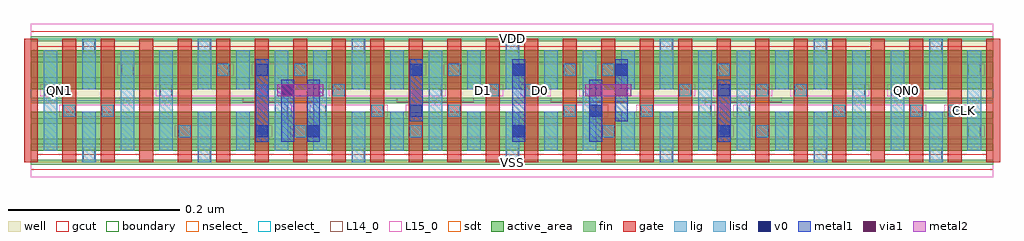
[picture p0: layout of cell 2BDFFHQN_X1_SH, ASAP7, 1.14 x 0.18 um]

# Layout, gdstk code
import gdstk
lib = gdstk.Library(unit=1e-6, precision=1e-09)
def R(c, l, rs):  # rectangles x0, y0, x1, y1
    for r in rs: c.add(gdstk.rectangle(r[:2], r[2:], *l))
def A(c, l, x, y, w, h, nx, ny, dx, dy):  # array of equal rectangles
    R(c, l, [(x+i*dx, y+j*dy, x+i*dx+w, y+j*dy+h) for i in range(nx) for j in range(ny)])
def P(c, l, *ps):  # polygons
    for p in ps: c.add(gdstk.Polygon(p, *l))
well = (1, 0)
fin = (2, 0)
gate = (7, 0)
gcut = (10, 0)
active_area = (11, 0)
nselect_ = (12, 0)
pselect_ = (13, 0)
L14_0 = (14, 0)
L15_0 = (15, 0)
lig = (16, 0)
lisd = (17, 0)
v0 = (18, 0)
metal1 = (19, 0)
metal2 = (20, 0)
via1 = (21, 0)
sdt = (88, 0)
boundary = (100, 0)

c_2bdffhqn_x1_sh = lib.new_cell('2BDFFHQN_X1_SH')
R(c_2bdffhqn_x1_sh, well, [(0,0.072,1.125,0.144)])
A(c_2bdffhqn_x1_sh, fin, 0, -0.003, 1.125, 0.006, 1, 7, 0, 0.024)
A(c_2bdffhqn_x1_sh, gate, -0.008, 0, 0.016, 0.144, 26, 1, 0.045, 0)
A(c_2bdffhqn_x1_sh, gcut, 0.248, 0.07, 0.09, 0.005, 4, 1, 0.18, 0)
P(c_2bdffhqn_x1_sh, gcut, [(0,-0.009),(0,0),(-0.008,0),(-0.008,0.135),(0.008,0.135),(0.008,0.009),(0.127,0.009),(0.127,0.135),(0.143,0.135),(0.143,0.009),(0.982,0.009),(0.982,0.135),(0.998,0.135),(0.998,0.009),(1.117,0.009),(1.117,0.135),(-0.008,0.135),(-0.008,0.144),(0,0.144),(0,0.153),(1.125,0.153),(1.125,0.144),(1.133,0.144),(1.133,0),(1.125,0),(1.125,-0.009)])
R(c_2bdffhqn_x1_sh, active_area, [(0,0.013,1.125,0.059), (0,0.085,1.125,0.131)])
R(c_2bdffhqn_x1_sh, nselect_, [(0,0,1.125,0.072)])
R(c_2bdffhqn_x1_sh, pselect_, [(0,0.072,1.125,0.144)])
A(c_2bdffhqn_x1_sh, L14_0, 0.196, 0, 0.014, 0.018, 5, 2, 0.18, 0.126)
R(c_2bdffhqn_x1_sh, L14_0, [(0.061,0,0.075,0.018), (1.051,0,1.065,0.018), (0.173,0.029,0.187,0.043), (0.263,0.029,0.277,0.043), (0.308,0.029,0.322,0.043), (0.443,0.029,0.457,0.043), (0.668,0.029,0.682,0.043), (0.803,0.029,0.817,0.043), (0.848,0.029,0.862,0.043), (1.096,0.029,1.11,0.043), (0.038,0.053,0.052,0.067), (0.083,0.053,0.097,0.067), (0.286,0.053,0.3,0.067), (0.331,0.053,0.345,0.067), (0.398,0.053,0.412,0.067), (0.488,0.053,0.502,0.067), (0.623,0.053,0.637,0.067), (0.713,0.053,0.727,0.067), (0.781,0.053,0.795,0.067), (0.826,0.053,0.84,0.067), (0.938,0.053,0.952,0.067), (1.028,0.053,1.042,0.067), (1.073,0.053,1.087,0.067), (0.016,0.077,0.03,0.091), (0.151,0.077,0.165,0.091), (0.263,0.077,0.277,0.091), (0.353,0.077,0.367,0.091), (0.466,0.077,0.48,0.091), (0.533,0.077,0.547,0.091), (0.578,0.077,0.592,0.091), (0.646,0.077,0.66,0.091), (0.758,0.077,0.772,0.091), (0.848,0.077,0.862,0.091), (0.893,0.077,0.907,0.091), (0.961,0.077,0.975,0.091), (1.006,0.077,1.02,0.091), (0.106,0.101,0.12,0.115), (0.218,0.101,0.232,0.115), (0.308,0.101,0.322,0.115), (0.443,0.101,0.457,0.115), (0.488,0.101,0.502,0.115), (0.623,0.101,0.637,0.115), (0.668,0.101,0.682,0.115), (0.803,0.101,0.817,0.115), (1.096,0.101,1.11,0.115), (0.061,0.126,0.075,0.144), (1.051,0.126,1.065,0.144)])
R(c_2bdffhqn_x1_sh, L15_0, [(0,-0.018,1.125,0.018), (0.168,0.029,0.282,0.043), (0.303,0.029,0.822,0.043), (0.843,0.029,1.115,0.043), (0.033,0.053,0.305,0.067), (0.326,0.053,0.417,0.067), (0.438,0.053,0.675,0.067), (0.708,0.053,0.8,0.067), (0.821,0.053,1.047,0.067), (1.068,0.053,1.103,0.067), (0.011,0.077,0.045,0.091), (0.146,0.077,0.315,0.091), (0.348,0.077,0.485,0.091), (0.518,0.077,0.552,0.091), (0.573,0.077,0.608,0.091), (0.641,0.077,0.777,0.091), (0.798,0.077,0.867,0.091), (0.888,0.077,0.98,0.091), (1.001,0.077,1.035,0.091), (0.101,0.101,0.237,0.115), (0.258,0.101,0.462,0.115), (0.483,0.101,0.642,0.115), (0.663,0.101,1.115,0.115), (0,0.126,1.125,0.162)])
R(c_2bdffhqn_x1_sh, lig, [(0.173,0.029,0.187,0.043), (0.263,0.029,0.277,0.043), (0.308,0.029,0.322,0.043), (0.443,0.029,0.457,0.043), (0.668,0.029,0.682,0.043), (0.803,0.029,0.817,0.043), (0.848,0.029,0.862,0.043), (0.038,0.053,0.052,0.067), (0.083,0.053,0.097,0.067), (0.398,0.053,0.412,0.067), (0.488,0.053,0.502,0.067), (0.623,0.053,0.637,0.067), (0.713,0.053,0.727,0.067), (0.938,0.053,0.952,0.067), (1.028,0.053,1.042,0.067), (1.073,0.053,1.087,0.067), (0.263,0.077,0.277,0.091), (0.353,0.077,0.367,0.091), (0.533,0.077,0.547,0.091), (0.578,0.077,0.592,0.091), (0.758,0.077,0.772,0.091), (0.848,0.077,0.862,0.091), (0.893,0.077,0.907,0.091), (0.218,0.101,0.232,0.115), (0.308,0.101,0.322,0.115), (0.443,0.101,0.457,0.115), (0.488,0.101,0.502,0.115), (0.623,0.101,0.637,0.115), (0.668,0.101,0.682,0.115), (0.803,0.101,0.817,0.115)])
A(c_2bdffhqn_x1_sh, lisd, 0.195, 0, 0.016, 0.059, 5, 2, 0.18, 0.085)
A(c_2bdffhqn_x1_sh, lisd, 0.42, 0.013, 0.016, 0.046, 4, 2, 0.09, 0.072)
R(c_2bdffhqn_x1_sh, lisd, [(0.06,0,0.076,0.059), (1.05,0,1.066,0.059), (0.015,0.013,0.031,0.131), (0.105,0.013,0.121,0.131), (0.15,0.013,0.166,0.131), (0.24,0.013,0.256,0.059), (0.285,0.013,0.301,0.131), (0.33,0.013,0.346,0.131), (0.465,0.013,0.481,0.131), (0.645,0.013,0.661,0.131), (0.78,0.013,0.796,0.131), (0.825,0.013,0.841,0.131), (0.87,0.013,0.886,0.059), (0.96,0.013,0.976,0.131), (1.005,0.013,1.021,0.131), (1.095,0.013,1.111,0.131), (0.06,0.085,0.076,0.144), (0.24,0.085,0.256,0.131), (0.87,0.085,0.886,0.131), (1.05,0.085,1.066,0.144)])
A(c_2bdffhqn_x1_sh, v0, 0.323, 0.029, 0.014, 0.014, 3, 1, 0.24, 0)
A(c_2bdffhqn_x1_sh, v0, 0.443, 0.101, 0.014, 0.014, 3, 1, 0.12, 0)
R(c_2bdffhqn_x1_sh, v0, [(0.263,0.029,0.277,0.043), (0.443,0.053,0.457,0.067), (0.653,0.053,0.667,0.067), (0.293,0.077,0.307,0.091), (0.803,0.077,0.817,0.091), (0.263,0.101,0.277,0.115)])
R(c_2bdffhqn_x1_sh, metal1, [(0.263,0.024,0.278,0.12), (0.293,0.024,0.308,0.096), (0.323,0.024,0.338,0.096), (0.563,0.024,0.578,0.12), (0.653,0.024,0.668,0.096), (0.803,0.024,0.818,0.096), (0.443,0.048,0.458,0.12), (0.683,0.048,0.698,0.12)])
R(c_2bdffhqn_x1_sh, metal2, [(0.288,0.077,0.342,0.091), (0.648,0.077,0.702,0.091)])
R(c_2bdffhqn_x1_sh, via1, [(0.293,0.077,0.307,0.091), (0.323,0.077,0.337,0.091), (0.653,0.077,0.667,0.091), (0.683,0.077,0.697,0.091)])
A(c_2bdffhqn_x1_sh, sdt, 0.015, 0.014, 0.016, 0.044, 25, 2, 0.045, 0.072)
R(c_2bdffhqn_x1_sh, boundary, [(0,0,1.125,0.144)])
c_2bdffhqn_x1_sh.add(gdstk.Label('VDD', (0.563,0.144), layer=15, texttype=251))
c_2bdffhqn_x1_sh.add(gdstk.Label('VSS', (0.563,0), layer=15, texttype=251))
c_2bdffhqn_x1_sh.add(gdstk.Label('QN0', (1.024,0.084), layer=15, texttype=251))
c_2bdffhqn_x1_sh.add(gdstk.Label('VDD', (0.563,0.144), layer=15, texttype=251))
c_2bdffhqn_x1_sh.add(gdstk.Label('VSS', (0.563,0), layer=15, texttype=251))
c_2bdffhqn_x1_sh.add(gdstk.Label('D0', (0.596,0.084), layer=15, texttype=251))
c_2bdffhqn_x1_sh.add(gdstk.Label('VDD', (0.563,0.144), layer=15, texttype=251))
c_2bdffhqn_x1_sh.add(gdstk.Label('VSS', (0.563,0), layer=15, texttype=251))
c_2bdffhqn_x1_sh.add(gdstk.Label('CLK', (1.091,0.06), layer=15, texttype=251))
c_2bdffhqn_x1_sh.add(gdstk.Label('VDD', (0.563,0.144), layer=15, texttype=251))
c_2bdffhqn_x1_sh.add(gdstk.Label('VSS', (0.563,0), layer=15, texttype=251))
c_2bdffhqn_x1_sh.add(gdstk.Label('QN1', (0.034,0.084), layer=15, texttype=251))
c_2bdffhqn_x1_sh.add(gdstk.Label('VDD', (0.563,0.144), layer=15, texttype=251))
c_2bdffhqn_x1_sh.add(gdstk.Label('VSS', (0.563,0), layer=15, texttype=251))
c_2bdffhqn_x1_sh.add(gdstk.Label('D1', (0.529,0.084), layer=15, texttype=251))
c_2bdffhqn_x1_sh.add(gdstk.Label('VSS', (0.563,0), layer=3, texttype=251))
c_2bdffhqn_x1_sh.add(gdstk.Label('VSS', (0.563,0), layer=3, texttype=251))
c_2bdffhqn_x1_sh.add(gdstk.Label('VSS', (0.563,0), layer=3, texttype=251))
c_2bdffhqn_x1_sh.add(gdstk.Label('VSS', (0.563,0), layer=3, texttype=251))
c_2bdffhqn_x1_sh.add(gdstk.Label('VSS', (0.563,0), layer=3, texttype=251))
c_2bdffhqn_x1_sh.add(gdstk.Label('VDD', (0.563,0.144), layer=1, texttype=251))
c_2bdffhqn_x1_sh.add(gdstk.Label('VDD', (0.563,0.144), layer=1, texttype=251))
c_2bdffhqn_x1_sh.add(gdstk.Label('VDD', (0.563,0.144), layer=1, texttype=251))
c_2bdffhqn_x1_sh.add(gdstk.Label('VDD', (0.563,0.144), layer=1, texttype=251))
c_2bdffhqn_x1_sh.add(gdstk.Label('VDD', (0.563,0.144), layer=1, texttype=251))

lib.write_gds('2BDFFHQN_X1_SH.gds')
